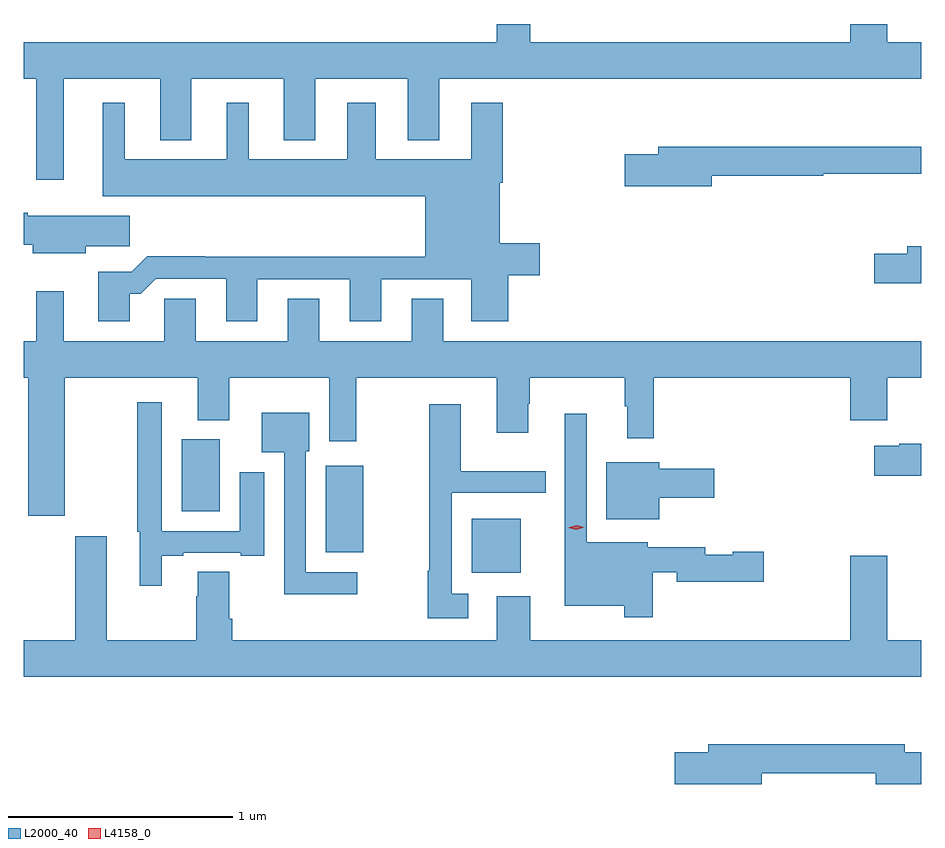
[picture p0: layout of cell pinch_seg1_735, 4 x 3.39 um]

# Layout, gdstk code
import gdstk
lib = gdstk.Library(unit=1e-6, precision=1e-09)
def R(c, l, rs):  # rectangles x0, y0, x1, y1
    for r in rs: c.add(gdstk.rectangle(r[:2], r[2:], *l))
def P(c, l, *ps):  # polygons
    for p in ps: c.add(gdstk.Polygon(p, *l))
L2000_40 = (2000, 40)
L4158_0 = (4158, 0)

pinch_seg1_735 = lib.new_cell('pinch_seg1_735')
R(pinch_seg1_735, L2000_40, [(858.626,517.565,858.844,517.804), (857.975,517.655,858.142,518.041), (857.333,517.838,857.503,518.158)])
P(pinch_seg1_735, L2000_40, [(856.629,519.764),(856.686,519.764),(856.686,519.315),(856.807,519.315),(856.807,519.764),(857.237,519.764),(857.237,519.491),(857.377,519.491),(857.377,519.764),(857.789,519.764),(857.789,519.491),(857.929,519.491),(857.929,519.764),(858.341,519.764),(858.341,519.491),(858.481,519.491),(858.481,519.764),(860.629,519.764),(860.629,519.928),(860.476,519.928),(860.476,520.009),(860.312,520.009),(860.312,519.928),(858.886,519.928),(858.886,520.009),(858.737,520.009),(858.737,519.928),(856.629,519.928)],
  [(857.101,518.807),(857.15,518.807),(857.217,518.874),(857.531,518.874),(857.531,518.685),(857.671,518.685),(857.671,518.871),(858.083,518.871),(858.083,518.685),(858.223,518.685),(858.223,518.871),(858.623,518.871),(858.623,518.685),(858.788,518.685),(858.788,518.89),(858.928,518.89),(858.928,519.032),(858.751,519.032),(858.751,519.302),(858.764,519.302),(858.764,519.658),(858.623,519.658),(858.623,519.406),(858.199,519.406),(858.199,519.658),(858.071,519.658),(858.071,519.406),(857.632,519.406),(857.632,519.658),(857.534,519.658),(857.534,519.406),(857.08,519.406),(857.08,519.658),(856.982,519.658),(856.982,519.242),(858.419,519.242),(858.419,518.972),(857.435,518.972),(857.435,518.975),(857.18,518.975),(857.11,518.905),(856.961,518.905),(856.961,518.685),(857.101,518.685)],
  [(859.696,519.334),(860.192,519.334),(860.192,519.342),(860.629,519.342),(860.629,519.463),(859.457,519.463),(859.457,519.429),(859.308,519.429),(859.308,519.287),(859.696,519.287)],
  [(856.906,519.019),(857.101,519.019),(857.101,519.154),(856.648,519.154),(856.648,519.167),(856.629,519.167),(856.629,519.025),(856.67,519.025),(856.67,518.987),(856.906,518.987)],
  [(860.629,519.019),(860.567,519.019),(860.567,518.985),(860.418,518.985),(860.418,518.855),(860.629,518.855)],
  [(856.813,518.432),(857.405,518.432),(857.405,518.243),(857.545,518.243),(857.545,518.432),(857.99,518.432),(857.99,518.151),(858.111,518.151),(858.111,518.432),(858.737,518.432),(858.737,518.187),(858.877,518.187),(858.877,518.318),(858.885,518.318),(858.885,518.432),(859.308,518.432),(859.308,518.306),(859.319,518.306),(859.319,518.163),(859.436,518.163),(859.436,518.432),(860.312,518.432),(860.312,518.244),(860.476,518.244),(860.476,518.432),(860.629,518.432),(860.629,518.596),(858.499,518.596),(858.499,518.786),(858.359,518.786),(858.359,518.596),(857.947,518.596),(857.947,518.786),(857.807,518.786),(857.807,518.596),(857.395,518.596),(857.395,518.786),(857.256,518.786),(857.256,518.596),(856.807,518.596),(856.807,518.818),(856.686,518.818),(856.686,518.596),(856.629,518.596),(856.629,518.432),(856.649,518.432),(856.649,517.818),(856.813,517.818)],
  [(857.245,517.641),(857.341,517.641),(857.341,517.653),(857.597,517.653),(857.597,517.641),(857.701,517.641),(857.701,518.011),(857.591,518.011),(857.591,517.749),(857.244,517.749),(857.244,518.323),(857.136,518.323),(857.136,517.746),(857.147,517.746),(857.147,517.506),(857.245,517.506)],
  [(858.61,517.471),(858.537,517.471),(858.537,517.92),(858.956,517.92),(858.956,518.017),(858.577,518.017),(858.577,518.314),(858.436,518.314),(858.436,517.574),(858.429,517.574),(858.429,517.362),(858.61,517.362)],
  [(858.115,517.566),(857.886,517.566),(857.886,518.106),(857.902,518.106),(857.902,518.278),(857.69,518.278),(857.69,518.102),(857.79,518.102),(857.79,517.469),(858.115,517.469)],
  [(859.433,517.566),(859.538,517.566),(859.538,517.523),(859.927,517.523),(859.927,517.658),(859.788,517.658),(859.788,517.645),(859.666,517.645),(859.666,517.677),(859.41,517.677),(859.41,517.699),(859.137,517.699),(859.137,518.272),(859.041,518.272),(859.041,517.795),(859.04,517.795),(859.04,517.418),(859.305,517.418),(859.305,517.365),(859.433,517.365)],
  [(860.629,518.139),(860.53,518.139),(860.53,518.131),(860.418,518.131),(860.418,517.996),(860.629,517.996)],
  [(859.462,517.898),(859.705,517.898),(859.705,518.028),(859.462,518.028),(859.462,518.056),(859.226,518.056),(859.226,517.802),(859.462,517.802)],
  [(860.629,517.264),(860.476,517.264),(860.476,517.639),(860.312,517.639),(860.312,517.264),(858.886,517.264),(858.886,517.459),(858.737,517.459),(858.737,517.264),(857.558,517.264),(857.558,517.36),(857.545,517.36),(857.545,517.568),(857.405,517.568),(857.405,517.46),(857.398,517.46),(857.398,517.264),(856.999,517.264),(856.999,517.726),(856.859,517.726),(856.859,517.264),(856.629,517.264),(856.629,517.1),(860.629,517.1)],
  [(859.918,516.67),(860.426,516.67),(860.426,516.623),(860.629,516.623),(860.629,516.765),(860.554,516.765),(860.554,516.799),(859.679,516.799),(859.679,516.765),(859.53,516.765),(859.53,516.623),(859.918,516.623)])
P(pinch_seg1_735, L4158_0, [(859.092,517.756),(859.056,517.764),(859.056,517.765),(859.056,517.765),(859.091,517.776),(859.127,517.768),(859.127,517.768),(859.127,517.768)])

lib.write_gds('pinch_seg1_735.gds')
